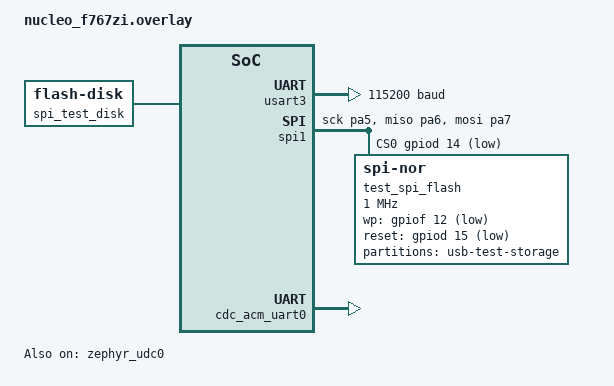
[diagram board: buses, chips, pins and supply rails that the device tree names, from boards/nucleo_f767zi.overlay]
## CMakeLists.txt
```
# SPDX-License-Identifier: Apache-2.0
cmake_minimum_required(VERSION 3.28.0)

set(BOARD_ROOT ${CMAKE_CURRENT_LIST_DIR}/../..)
if(BOARD STREQUAL "nucleo_f767zi")
	set(DTC_OVERLAY_FILE ${CMAKE_CURRENT_LIST_DIR}/boards/nucleo_f767zi.overlay)
endif()

find_package(Zephyr REQUIRED HINTS $ENV{ZEPHYR_BASE})
project(test_usb_mtp)
target_sources(app PRIVATE src/main.c)
```

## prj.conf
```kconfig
# SPDX-License-Identifier: Apache-2.0
CONFIG_USB_DEVICE_STACK_NEXT=y
CONFIG_USBD_MTP_CLASS=y
CONFIG_USBD_MTP_MAX_HANDLES=12
CONFIG_USBD_MTP_STORAGES_PER_INSTANCE=3
CONFIG_USBD_MSC_CLASS=y
CONFIG_USBD_MSC_LUNS_PER_INSTANCE=1
CONFIG_USBD_MSC_SCSI_BUFFER_SIZE=512
CONFIG_USBD_CDC_ACM_CLASS=y

CONFIG_SERIAL=y
CONFIG_UART_CONSOLE=y
CONFIG_CONSOLE=y
CONFIG_SHELL=y
CONFIG_SHELL_BACKEND_SERIAL=y
CONFIG_LOG=y
CONFIG_LOG_DEFAULT_LEVEL=3
CONFIG_LOG_MODE_IMMEDIATE=y
CONFIG_HWINFO=y

CONFIG_GPIO=y
CONFIG_SPI=y
CONFIG_DISK_DRIVERS=y
CONFIG_FILE_SYSTEM=y
CONFIG_FLASH=y
CONFIG_SPI_NOR=y
CONFIG_SPI_NOR_SFDP_MINIMAL=y
CONFIG_SPI_NOR_SFDP_RUNTIME=n
CONFIG_DISK_DRIVER_FLASH=y
CONFIG_FLASHDISK_VERIFY_PAGE_LAYOUT=n
CONFIG_FILE_SYSTEM_MKFS=y
CONFIG_FAT_FILESYSTEM_ELM=y
CONFIG_FS_FATFS_MAX_SS=512
CONFIG_FS_FATFS_CUSTOM_MOUNT_POINT_COUNT=1
CONFIG_FS_FATFS_CUSTOM_MOUNT_POINTS="SPI"
CONFIG_FS_FATFS_LFN=y
CONFIG_FS_FATFS_LFN_MODE_STACK=y
CONFIG_FS_FATFS_MOUNT_MKFS=y
CONFIG_MAIN_STACK_SIZE=4096
CONFIG_SHELL_STACK_SIZE=4096
CONFIG_USBD_THREAD_STACK_SIZE=4096
```

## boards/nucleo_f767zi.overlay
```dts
/* SPDX-License-Identifier: Apache-2.0 */

/ {
	spi_test_disk: spi_test_disk {
		compatible = "zephyr,flash-disk";
		partition = <&spi_test_storage>;
		disk-name = "SPI";
		cache-size = <4096>;
		sector-size = <512>;
		status = "okay";
	};

	chosen {
		zephyr,console = &usart3;
		zephyr,shell-uart = &usart3;
	};

};

&usart3 {
	status = "okay";
	current-speed = <115200>;

};

&spi1 {
	pinctrl-0 = <&spi1_sck_pa5 &spi1_miso_pa6 &spi1_mosi_pa7>;
	pinctrl-names = "default";
	cs-gpios = <&gpiod 14 GPIO_ACTIVE_LOW>;
	status = "okay";
	test_spi_flash: flash@0 {
		compatible = "jedec,spi-nor";
		reg = <0>;
		spi-max-frequency = <1000000>;
		jedec-id = [ef 40 16];
		size = <DT_SIZE_M(4)>;
		wp-gpios = <&gpiof 12 GPIO_ACTIVE_LOW>;
		reset-gpios = <&gpiod 15 GPIO_ACTIVE_LOW>;
		status = "okay";

		partitions {
			compatible = "fixed-partitions";
			#address-cells = <1>;
			#size-cells = <1>;

			spi_test_storage: partition@0 {
				label = "usb-test-storage";
				reg = <0 DT_SIZE_M(1)>;
			};
		};
	};
};

&zephyr_udc0 {
	status = "okay";

	cdc_acm_uart0: cdc_acm_uart0 {
		compatible = "zephyr,cdc-acm-uart";
		label = "TEST USB CDC ACM UART";
	};
};
```

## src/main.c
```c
/* SPDX-License-Identifier: Apache-2.0 */
/** @file @brief Exercise USB MTP enumeration and object transfers. */

#include <errno.h>
#include <string.h>

#include <ff.h>
#include <zephyr/device.h>
#include <zephyr/fs/fs.h>
#include <zephyr/kernel.h>
#include <zephyr/shell/shell.h>
#include <zephyr/drivers/spi.h>
#include <zephyr/drivers/flash.h>
#include <zephyr/storage/disk_access.h>
#include <zephyr/storage/flash_map.h>
#include <zephyr/usb/class/usbd_msc.h>
#include <zephyr/usb/class/usbd_mtp.h>
#include <zephyr/usb/usbd.h>

#define TEST_DISK "SPI"
#define TEST_MOUNT "/0:"
#define TEST_FAT_VOLUME "0:"
#define TEST_UDC_NODE DT_NODELABEL(zephyr_udc0)
#define TEST_USB_VID 0x2fe3
#define TEST_USB_PID 0xef86

BUILD_ASSERT(DT_NODE_HAS_STATUS(TEST_UDC_NODE, okay),
	"test-usb-mtp requires a USB device controller");

USBD_DEVICE_DEFINE(test_mtp_usbd, DEVICE_DT_GET(TEST_UDC_NODE),
	TEST_USB_VID, TEST_USB_PID);
USBD_DESC_LANG_DEFINE(test_mtp_lang);
USBD_DESC_MANUFACTURER_DEFINE(test_mtp_manufacturer, "EF800");
USBD_DESC_PRODUCT_DEFINE(test_mtp_product, "EF800 USB MTP Test");
USBD_DESC_STRING_DEFINE(test_mtp_serial_number,
	"EF800MTPTEST0001", USBD_DUT_STRING_SERIAL_NUMBER);
USBD_DESC_CONFIG_DEFINE(test_mtp_config_desc, "MTP");
USBD_CONFIGURATION_DEFINE(test_mtp_config, USB_SCD_SELF_POWERED, 125,
	&test_mtp_config_desc);
USBD_MTP_DEFINE_INSTANCE(test_mtp,
	"EF800", "USB MTP Test", "1.0", "EF800000000000000000000000000001",
	USBD_MTP_STORAGE_ENTRY_NAMED(TEST_MOUNT "/data", "data", false),
	USBD_MTP_STORAGE_ENTRY_NAMED(TEST_MOUNT "/plugins", "plugins", false),
	USBD_MTP_STORAGE_ENTRY_NAMED(TEST_MOUNT "/fwu", "fwu", false));

USBD_DEVICE_DEFINE(test_msc_usbd, DEVICE_DT_GET(TEST_UDC_NODE),
	TEST_USB_VID, TEST_USB_PID + 1);
USBD_DESC_LANG_DEFINE(test_msc_lang);
USBD_DESC_MANUFACTURER_DEFINE(test_msc_manufacturer, "EF800");
USBD_DESC_PRODUCT_DEFINE(test_msc_product, "EF800 USB MSC Test");
USBD_DESC_STRING_DEFINE(test_msc_serial_number,
	"EF800MSCTEST0001", USBD_DUT_STRING_SERIAL_NUMBER);
USBD_DESC_CONFIG_DEFINE(test_msc_config_desc, "MSC");
USBD_CONFIGURATION_DEFINE(test_msc_config, USB_SCD_SELF_POWERED, 125,
	&test_msc_config_desc);
USBD_DEFINE_MSC_LUN(test_msc_lun, TEST_DISK, "EF800", "SPI Flash", "1.00");

USBD_DEVICE_DEFINE(test_cdc_usbd, DEVICE_DT_GET(TEST_UDC_NODE),
	TEST_USB_VID, TEST_USB_PID + 2);
USBD_DESC_LANG_DEFINE(test_cdc_lang);
USBD_DESC_MANUFACTURER_DEFINE(test_cdc_manufacturer, "EF800");
USBD_DESC_PRODUCT_DEFINE(test_cdc_product, "EF800 USB CDC Test");
USBD_DESC_STRING_DEFINE(test_cdc_serial_number,
	"EF800CDCTEST0001", USBD_DUT_STRING_SERIAL_NUMBER);
USBD_DESC_CONFIG_DEFINE(test_cdc_config_desc, "CDC");
USBD_CONFIGURATION_DEFINE(test_cdc_config, USB_SCD_SELF_POWERED, 125,
	&test_cdc_config_desc);

static FATFS fat_fs;
static const char *const mtp_roots[] = {
	TEST_MOUNT "/data",
	TEST_MOUNT "/plugins",
	TEST_MOUNT "/fwu",
};
static struct fs_mount_t mount = {
	.type = FS_FATFS,
	.mnt_point = TEST_MOUNT,
	.fs_data = &fat_fs,
	.flags = 0,
};

enum usb_mode { USB_NONE, USB_CDC, USB_MTP, USB_MSC };
static enum usb_mode active_mode;
static bool mtp_configured;
static bool msc_configured;
static bool cdc_configured;

static void configure_mtp_device_descriptor(void)
{
	/* A single MTP/PTP interface is not an IAD composite device. */
	fs_desc_test_mtp_usbd.bDeviceClass = 0;
	fs_desc_test_mtp_usbd.bDeviceSubClass = 0;
	fs_desc_test_mtp_usbd.bDeviceProtocol = 0;
#if USBD_SUPPORTS_HIGH_SPEED
	hs_desc_test_mtp_usbd.bDeviceClass = 0;
	hs_desc_test_mtp_usbd.bDeviceSubClass = 0;
	hs_desc_test_mtp_usbd.bDeviceProtocol = 0;
#endif
}

static const char *mode_name(enum usb_mode mode)
{
	switch (mode) {
	case USB_CDC: return "cdc";
	case USB_MTP: return "mtp";
	case USB_MSC: return "msc";
	default: return "none";
	}
}

static int add_common_descriptors(struct usbd_context *ctx,
	struct usbd_desc_node *lang, struct usbd_desc_node *manufacturer,
	struct usbd_desc_node *product, struct usbd_desc_node *serial,
	struct usbd_config_node *config,
	const char *const *blocklist, bool *configured)
{
	int ret;

	if (!*configured) {
		ret = usbd_add_descriptor(ctx, lang);
		if (ret) return ret;
		ret = usbd_add_descriptor(ctx, manufacturer);
		if (ret) return ret;
		ret = usbd_add_descriptor(ctx, product);
		if (ret) return ret;
		ret = usbd_add_descriptor(ctx, serial);
		if (ret) return ret;
		ret = usbd_add_configuration(ctx, USBD_SPEED_FS, config);
		if (ret) return ret;
		*configured = true;
	}
	ret = usbd_register_all_classes(ctx, USBD_SPEED_FS, 1, blocklist);
	if (ret) return ret;
	return usbd_init(ctx);
}

static int stop_usb(void)
{
	struct usbd_context *ctx = NULL;
	int ret;

	switch (active_mode) {
	case USB_MTP: ctx = &test_mtp_usbd; break;
	case USB_MSC: ctx = &test_msc_usbd; break;
	case USB_CDC: ctx = &test_cdc_usbd; break;
	default: return 0;
	}
	ret = usbd_disable(ctx);
	if (ret != 0 && ret != -EALREADY) return ret;
	ret = usbd_shutdown(ctx);
	if (ret == 0) active_mode = USB_NONE;
	return ret;
}

static int start_usb(enum usb_mode mode)
{
	static const char *const mtp_block[] = {"cdc_acm_0", "msc_0", NULL};
	static const char *const msc_block[] = {"cdc_acm_0", "mtp_0", NULL};
	static const char *const cdc_block[] = {"msc_0", "mtp_0", NULL};
	struct usbd_context *ctx;
	int ret;

	if (mode == USB_NONE) return 0;
	if (mode == USB_MSC && active_mode == USB_NONE) {
		ret = fs_unmount(&mount);
		if (ret) return ret;
	}
	if (mode != USB_MSC && active_mode == USB_MSC) return -EAGAIN;
	if (mode == USB_MTP) {
		ctx = &test_mtp_usbd;
		configure_mtp_device_descriptor();
		ret = add_common_descriptors(ctx, &test_mtp_lang, &test_mtp_manufacturer,
			&test_mtp_product, &test_mtp_serial_number, &test_mtp_config,
			mtp_block, &mtp_configured);
	} else if (mode == USB_MSC) {
		ctx = &test_msc_usbd;
		ret = add_common_descriptors(ctx, &test_msc_lang, &test_msc_manufacturer,
			&test_msc_product, &test_msc_serial_number, &test_msc_config,
			msc_block, &msc_configured);
	} else {
		ctx = &test_cdc_usbd;
		ret = add_common_descriptors(ctx, &test_cdc_lang, &test_cdc_manufacturer,
			&test_cdc_product, &test_cdc_serial_number, &test_cdc_config,
			cdc_block, &cdc_configured);
	}
	if (ret == 0) {
		ret = usbd_enable(ctx);
		if (ret == 0) active_mode = mode;
	}
	return ret;
}

static int cmd_usb(const struct shell *shell, size_t argc, char **argv)
{
	static const struct { const char *name; enum usb_mode mode; } modes[] = {
		{"none", USB_NONE}, {"cdc", USB_CDC}, {"mtp", USB_MTP}, {"msc", USB_MSC},
	};
	int ret;

	if (argc != 2) return -EINVAL;
	for (size_t i = 0; i < ARRAY_SIZE(modes); i++) {
		if (strcmp(argv[1], modes[i].name) == 0) {
			if (modes[i].mode != USB_MSC && active_mode == USB_MSC) {
				shell_error(shell, "MSC exit requires reboot");
				return -EAGAIN;
			}
			ret = stop_usb();
			if (ret == 0) ret = start_usb(modes[i].mode);
			shell_print(shell, "usb %s active=%s result=%d", argv[1],
				mode_name(active_mode), ret);
			return ret;
		}
	}
	return -EINVAL;
}

static int cmd_usb_status(const struct shell *shell, size_t argc, char **argv)
{
	ARG_UNUSED(argc); ARG_UNUSED(argv);
	shell_print(shell, "mode=%s", mode_name(active_mode));
	return 0;
}

static int cmd_disk_diag(const struct shell *shell, size_t argc, char **argv)
{
	int ret;
	uint32_t sectors = 0;
	uint32_t sector_size = 0;
	static uint8_t sector[4096];

	ARG_UNUSED(argc);
	ARG_UNUSED(argv);
	ret = disk_access_init(TEST_DISK);
	int init_ret = ret;
	if (ret == 0) {
		ret = disk_access_ioctl(TEST_DISK, DISK_IOCTL_GET_SECTOR_COUNT, &sectors);
	}
	if (ret == 0) {
		ret = disk_access_ioctl(TEST_DISK, DISK_IOCTL_GET_SECTOR_SIZE, &sector_size);
	}
	int read_ret = ret == 0 ? disk_access_read(TEST_DISK, sector, 0, 1) : ret;
	shell_print(shell, "disk=%s init=%d sectors=%u sector_size=%u result=%d",
		TEST_DISK, init_ret, sectors, sector_size, ret);
	shell_print(shell, "sector0 read=%d bytes=%02x %02x %02x %02x",
		read_ret, sector[0], sector[1], sector[2], sector[3]);
	return ret;
}

static int cmd_mount_diag(const struct shell *shell, size_t argc, char **argv)
{
	int ret;

	ARG_UNUSED(argc);
	ARG_UNUSED(argv);
	ret = fs_mount(&mount);
	shell_print(shell, "mount=%s result=%d", TEST_MOUNT, ret);
	if (ret == 0) {
		for (size_t i = 0; i < ARRAY_SIZE(mtp_roots); i++) {
			int mkdir_ret = fs_mkdir(mtp_roots[i]);
			shell_print(shell, "mkdir %s result=%d", mtp_roots[i], mkdir_ret);
		}
	}
	return ret;
}

static int cmd_flash_partition_test(const struct shell *shell,
	size_t argc, char **argv)
{
	const struct flash_area *area;
	uint8_t tx[256];
	uint8_t rx[sizeof(tx)];
	int ret;
	const struct device *flash = DEVICE_DT_GET(DT_NODELABEL(test_spi_flash));
	uint8_t direct_tx[16];
	uint8_t direct_rx[sizeof(direct_tx)];

	ARG_UNUSED(argc);
	ARG_UNUSED(argv);
	for (size_t i = 0; i < sizeof(direct_tx); i++) {
		direct_tx[i] = (uint8_t)(0x3cU ^ i);
	}
	ret = flash_erase(flash, 0, 4096);
	shell_print(shell, "direct erase= %d", ret);
	k_msleep(100);
	if (ret == 0) {
		ret = flash_read(flash, 0, direct_rx, sizeof(direct_rx));
		shell_print(shell, "post-erase read=%d first=%02x %02x %02x %02x",
			ret, direct_rx[0], direct_rx[1], direct_rx[2], direct_rx[3]);
	}
	if (ret == 0) {
		ret = flash_write(flash, 0, direct_tx, sizeof(direct_tx));
		shell_print(shell, "direct write=%d", ret);
		k_msleep(100);
	}
	if (ret == 0) {
		ret = flash_read(flash, 0, direct_rx, sizeof(direct_rx));
		shell_print(shell, "direct read=%d compare=%d", ret,
			ret == 0 ? memcmp(direct_tx, direct_rx, sizeof(direct_tx)) : -1);
		shell_hexdump(shell, direct_rx, sizeof(direct_rx));
	}
	if (ret != 0) {
		return ret;
	}
	for (size_t i = 0; i < sizeof(tx); i++) {
		tx[i] = (uint8_t)(0xa5U ^ i);
	}

	ret = flash_area_open(PARTITION_ID(spi_test_storage), &area);
	if (ret != 0) {
		shell_error(shell, "partition open failed=%d", ret);
		return ret;
	}
	shell_print(shell, "partition id=%u offset=0x%lx size=0x%x",
		(unsigned int)area->fa_id, (long)area->fa_off,
		(unsigned int)area->fa_size);
	ret = flash_area_erase(area, 0, area->fa_size);
	shell_print(shell, "partition erase=%d", ret);
	if (ret == 0) {
		ret = flash_area_write(area, 0, tx, sizeof(tx));
		shell_print(shell, "partition write=%d", ret);
	}
	if (ret == 0) {
		ret = flash_area_read(area, 0, rx, sizeof(rx));
		shell_print(shell, "partition read=%d compare=%d",
			ret, ret == 0 ? memcmp(tx, rx, sizeof(tx)) : -1);
	}
	flash_area_close(area);
	return ret;
}

static int cmd_sd_format(const struct shell *shell, size_t argc, char **argv)
{
	int ret;

	ARG_UNUSED(argc);
	ARG_UNUSED(argv);
	ret = fs_unmount(&mount);
	if (ret != 0 && ret != -EINVAL) {
		shell_error(shell, "unmount before format failed=%d", ret);
		return ret;
	}
	ret = fs_mkfs(FS_FATFS, (uintptr_t)TEST_FAT_VOLUME, NULL, 0);
	shell_print(shell, "sd format result=%d", ret);
	if (ret == 0) {
		ret = disk_access_ioctl(TEST_DISK, DISK_IOCTL_CTRL_SYNC, NULL);
		shell_print(shell, "disk sync after format=%d", ret);
	}
	if (ret == 0) {
		ret = fs_mount(&mount);
		shell_print(shell, "sd mount after format=%d", ret);
		if (ret == 0) {
			for (size_t i = 0; i < ARRAY_SIZE(mtp_roots); i++) {
				int mkdir_ret = fs_mkdir(mtp_roots[i]);
				shell_print(shell, "mkdir %s result=%d", mtp_roots[i], mkdir_ret);
			}
		}
	}
	return ret;
}

SHELL_CMD_REGISTER(usb, NULL, "Switch USB mode: none|cdc|mtp|msc", cmd_usb);
SHELL_CMD_REGISTER(usb_status, NULL, "Show USB mode", cmd_usb_status);
SHELL_CMD_REGISTER(disk_diag, NULL, "Check SPI flash disk", cmd_disk_diag);
SHELL_CMD_REGISTER(mount_diag, NULL, "Mount SPI FAT volume", cmd_mount_diag);
SHELL_CMD_REGISTER(flash_partition_test, NULL,
	"Directly erase/write/read the SPI partition", cmd_flash_partition_test);
SHELL_CMD_REGISTER(sd_format, NULL, "Erase and format SPI FAT volume", cmd_sd_format);

int main(void)
{
	int ret;

	printk("test-usb-mtp starting SPI-NOR storage\n");
	ret = disk_access_init(TEST_DISK);
	printk("disk init %s result=%d\n", TEST_DISK, ret);
	if (ret) { return ret; }
	ret = fs_mount(&mount);
	if (ret) {
		printk("FAT mount failed=%d; formatting test volume\n", ret);
		ret = fs_mkfs(FS_FATFS, (uintptr_t)TEST_FAT_VOLUME, NULL, 0);
		printk("format result=%d\n", ret);
		if (ret == 0) {
			(void)disk_access_ioctl(TEST_DISK, DISK_IOCTL_CTRL_SYNC, NULL);
			ret = fs_mount(&mount);
		}
		if (ret) {
			printk("FAT mount after format failed=%d\n", ret);
			return ret;
		}
	}
	k_msleep(100);
	for (size_t i = 0; i < ARRAY_SIZE(mtp_roots); i++) {
		int mkdir_ret = fs_mkdir(mtp_roots[i]);
		printk("mkdir %s result=%d\n", mtp_roots[i], mkdir_ret);
	}
	printk("test-usb-mtp ready; console USART3 115200 8N1\n");
	printk("SPI-NOR FAT mounted at %s; commands: usb none|cdc|mtp|msc, usb_status\n", TEST_MOUNT);
	ret = start_usb(USB_MTP);
	printk("default USB MTP start result=%d\n", ret);
	return 0;
}
```
